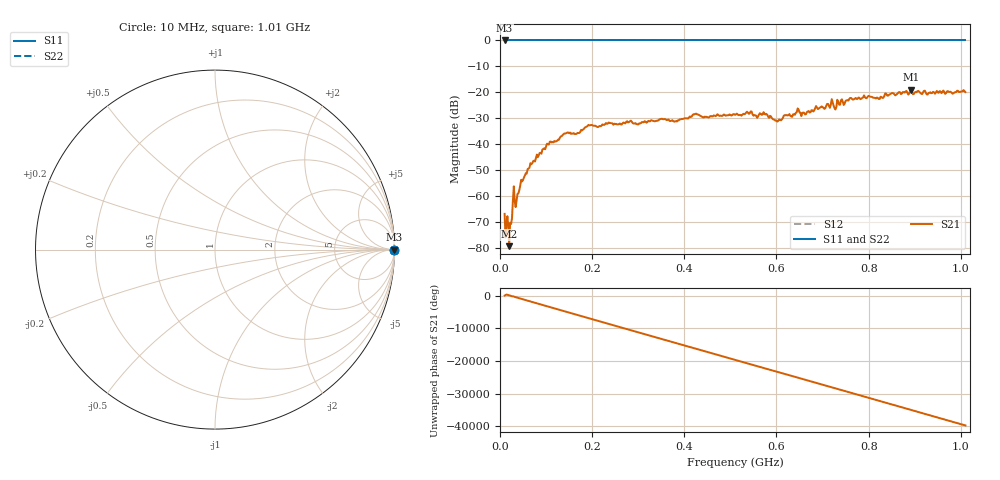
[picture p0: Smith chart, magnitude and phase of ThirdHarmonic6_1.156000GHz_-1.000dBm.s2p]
! 8/16/2025 11:32:26 AM
! C:\ANRITSUVNA\TEMP\TEMP.S2P
! CHANNEL.1
! TR.MEASUREMENT
! RAW.DATA
! RF.CORRECTION.OFF
! AVERAGING.OFF
! IF.BANDWIDTH: 5KHZ
! SWEEPTYPE:  FREQ.SWEEP(Linear)
! Reference Plane Port Info
! PORT:  PORT1  PORT2
! DISTANCE:  0  m  0  m
! TIME:  0  s  0  s
! PHASE.OFFSET:  0  deg.  0  deg.
! LOSS:  0  dB  0  dB
! REF.LOSS:  0  dB  0  dB
! REF.FREQ:  0  Hz  0  Hz
! Power Info
! POWER:  -20  dBm  -20  dBm
! EFF.POWER:  -20  dBm  -20  dBm
! SOURCE.ATTEN:  0  dB  0  dB
! TEST.ATTEN:  0  dB  0  dB
# GHZ S RI R 50.0
! FREQ.GHZ  S11RE  S11IM  S21RE  S21IM  S12RE  S12IM  S22RE  S22IM
!; PortSelection: Port_12
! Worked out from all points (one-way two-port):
!   501 points, 10 MHz to 1.01 GHz, reference 50 ohm
!   highest |S21| = -18.99 dB at 892 MHz (marker M1); lowest = -79.2 dB at 20 MHz (marker M2)
!   lowest |S11| = 0.0 dB at 10 MHz (marker M3)
!   |S11| at or under -10 dB: nowhere
!   |S22| runs from 0.0 to 0.0 dB; largest |S21 - S12| = 1.1
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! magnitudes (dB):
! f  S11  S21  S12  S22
! 10 MHz  0.0  -66.8  0.0  0.0
! 16 MHz  0.0  -67.7  0.0  0.0
! 20 MHz  0.0  -79.2  0.0  0.0
! 22 MHz  0.0  -70.2  0.0  0.0
! 26 MHz  0.0  -68.5  0.0  0.0
! 32 MHz  0.0  -62.1  0.0  0.0
! 36 MHz  0.0  -61.6  0.0  0.0
! 48 MHz  0.0  -54.3  0.0  0.0
! 70 MHz  0.0  -47.3  0.0  0.0
! 106 MHz  0.0  -40.1  0.0  0.0
! 178 MHz  0.0  -34.7  0.0  0.0
! 196 MHz  0.0  -32.6  0.0  0.0
! 344 MHz  0.0  -30.7  0.0  0.0
! 510 MHz  0.0  -28.7  0.0  0.0
! 576 MHz  0.0  -28.5  0.0  0.0
! 600 MHz  0.0  -30.9  0.0  0.0
! 646 MHz  0.0  -26.2  0.0  0.0
! 678 MHz  0.0  -26.9  0.0  0.0
! 762 MHz  0.0  -22.2  0.0  0.0
! 844 MHz  0.0  -21.0  0.0  0.0
! 892 MHz  0.0  -19.0  0.0  0.0
! 1.01 GHz  0.0  -19.9  0.0  0.0
